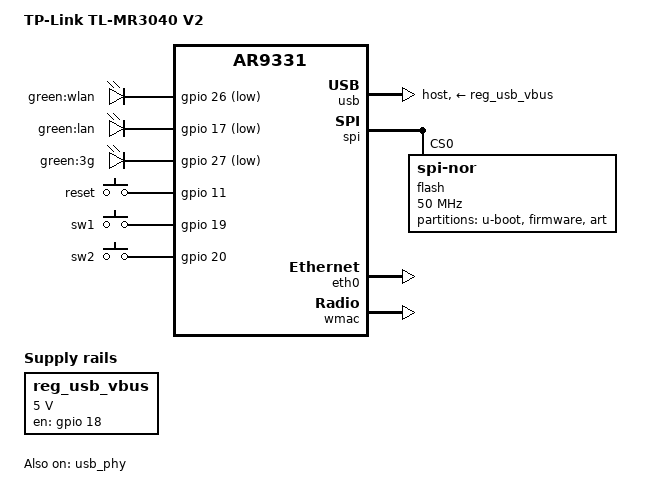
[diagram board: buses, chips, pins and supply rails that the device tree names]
// SPDX-License-Identifier: GPL-2.0-only

#include "ar9331.dtsi"

#include <dt-bindings/gpio/gpio.h>
#include <dt-bindings/input/input.h>

/ {
	model = "TP-Link TL-MR3040 V2";
	compatible = "tplink,tl-mr3040-v2", "qca,ar9331";

	aliases {
		led-boot = &led_lan;
		led-failsafe = &led_lan;
		label-mac-device = &eth0;
	};

	leds {
		compatible = "gpio-leds";

		pinctrl-names = "default";
		pinctrl-0 = <&switch_led_disable_pins>;

		wlan {
			label = "green:wlan";
			gpios = <&gpio 26 GPIO_ACTIVE_LOW>;
			linux,default-trigger = "phy0tpt";
		};

		led_lan: lan {
			label = "green:lan";
			gpios = <&gpio 17 GPIO_ACTIVE_LOW>;
		};

		led3g {
			label = "green:3g";
			gpios = <&gpio 27 GPIO_ACTIVE_LOW>;
			trigger-sources = <&hub_port>;
			linux,default-trigger = "usbport";
		};
	};

	keys {
		compatible = "gpio-keys";

		reset {
			label = "reset";
			linux,code = <KEY_RESTART>;
			gpios = <&gpio 11 GPIO_ACTIVE_HIGH>;
			debounce-interval = <60>;
		};

		sw1 {
			label = "sw1";
			linux,input-type = <EV_SW>;
			linux,code = <BTN_0>;
			gpios = <&gpio 19 GPIO_ACTIVE_HIGH>;
			debounce-interval = <60>;
		};

		sw2 {
			label = "sw2";
			linux,input-type = <EV_SW>;
			linux,code = <BTN_1>;
			gpios = <&gpio 20 GPIO_ACTIVE_HIGH>;
			debounce-interval = <60>;
		};
	};

	reg_usb_vbus: reg_usb_vbus {
		compatible = "regulator-fixed";
		regulator-name = "usb_vbus";
		regulator-min-microvolt = <5000000>;
		regulator-max-microvolt = <5000000>;
		gpio = <&gpio 18 GPIO_ACTIVE_HIGH>;
		enable-active-high;
	};
};

&ref {
	clock-frequency = <25000000>;
};

&usb {
	#address-cells = <1>;
	#size-cells = <0>;
	dr_mode = "host";
	vbus-supply = <&reg_usb_vbus>;
	status = "okay";

	hub_port: port@1 {
		reg = <1>;
		#trigger-source-cells = <0>;
	};
};

&usb_phy {
	status = "okay";
};

&spi {
	status = "okay";

	flash@0 {
		compatible = "jedec,spi-nor";
		spi-max-frequency = <50000000>;
		reg = <0>;

		partitions {
			compatible = "fixed-partitions";
			#address-cells = <1>;
			#size-cells = <1>;

			uboot: partition@0 {
				label = "u-boot";
				reg = <0x000000 0x020000>;
				read-only;
			};

			partition@20000 {
				compatible = "tplink,firmware";
				label = "firmware";
				reg = <0x020000 0x3d0000>;
			};

			art: partition@3f0000 {
				label = "art";
				reg = <0x3f0000 0x010000>;
				read-only;
			};
		};
	};
};

&eth0 {
	status = "okay";

	nvmem-cells = <&macaddr_uboot_1fc00>;
	nvmem-cell-names = "mac-address";
	gmac-config {
		device = <&gmac>;

		switch-phy-addr-swap = <0>;
		switch-phy-swap = <0>;
	};
};

&eth1 {
	status = "okay";

	compatible = "syscon", "simple-mfd";
};

&wmac {
	status = "okay";

	mtd-cal-data = <&art 0x1000>;
	nvmem-cells = <&macaddr_uboot_1fc00>;
	nvmem-cell-names = "mac-address";
};

&uboot {
	compatible = "nvmem-cells";
	#address-cells = <1>;
	#size-cells = <1>;

	macaddr_uboot_1fc00: macaddr@1fc00 {
		reg = <0x1fc00 0x6>;
	};
};
